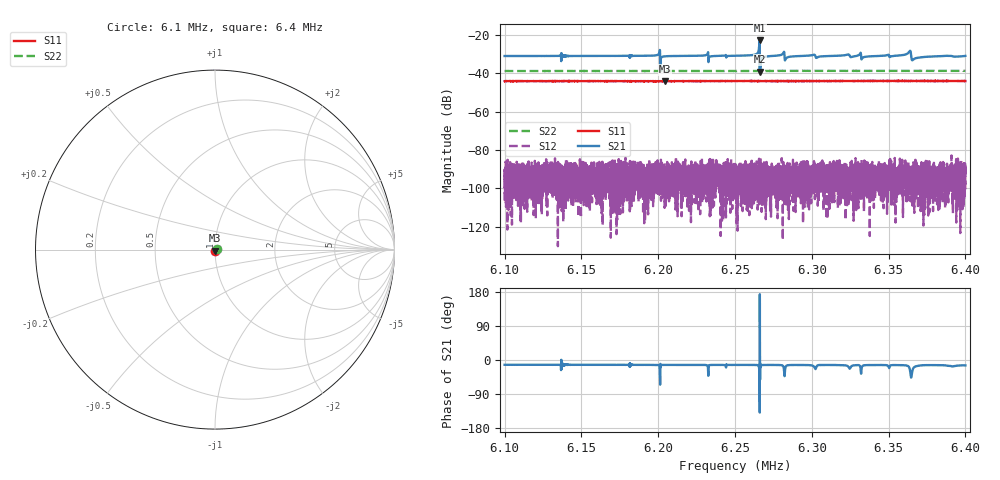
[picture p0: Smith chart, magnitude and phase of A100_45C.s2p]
!CETC41,AV3656A,ZGL00048,1.3.2
!Calibration ON (Full Solt 2-Port(Omit Isolation))
!Measurements: S11 S21 S12 S22
!2025-07-09 21:53
# Hz  S  dB  R 50.000
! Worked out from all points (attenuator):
!   6401 points, 6.1 MHz to 6.4 MHz, reference 50 ohm
!   highest |S21| = -22.83 dB at 6.266 MHz (marker M1); lowest = -39.0 dB at 6.2662 MHz (marker M2)
!   lowest |S11| = -44.1 dB at 6.2045 MHz (marker M3), VSWR 1.01, Z = 50 - j0.622 ohm
!   |S11| at or under -10 dB: start of sweep to end of sweep
!   |S22| runs from -38.8 to -38.7 dB; largest |S21 - S12| = 0.072
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6100000  -44.08 -89.6  -30.94 -12.7  -106.42 39.6  -38.77 10.4
6150016  -44.00 -89.6  -30.92 -12.7  -92.46 26.4  -38.76 10.4
6200031  -44.09 -89.7  -30.19 -13.2  -100.93 -70.1  -38.77 10.6
6202750  -44.06 -89.6  -31.36 -13.1  -90.34 -169.2  -38.79 10.7
6204531  -44.12 -89.7  -31.09 -12.9  -89.28 91.0  -38.78 10.9
6250000  -43.98 -89.8  -30.79 -13.0  -91.62 36.0  -38.78 10.8
6262188  -44.00 -89.9  -30.35 -13.0  -92.74 83.4  -38.77 10.6
6264625  -44.05 -89.8  -29.53 -13.4  -91.32 16.3  -38.76 10.8
6265984  -44.00 -89.5  -22.83 -65.5  -100.47 -73.2  -38.77 10.7
6266219  -44.01 -89.5  -39.04 54.2  -103.95 158.8  -38.76 10.6
6267672  -43.98 -89.5  -31.95 -13.3  -101.01 -100.5  -38.75 10.7
6269453  -44.01 -89.4  -31.33 -13.1  -89.05 15.5  -38.77 10.8
6280703  -44.02 -89.3  -30.09 -14.1  -96.90 165.9  -38.71 10.7
6283797  -44.02 -89.7  -31.79 -14.4  -92.88 -59.2  -38.68 10.8
6300016  -44.00 -89.6  -30.53 -14.4  -97.70 80.5  -38.68 10.7
6303953  -44.01 -89.6  -31.51 -13.9  -93.82 116.3  -38.69 10.6
6330578  -44.01 -89.4  -30.47 -13.7  -97.92 41.6  -38.70 10.5
6333625  -43.97 -89.5  -31.62 -14.3  -87.69 81.8  -38.73 10.6
6350031  -44.00 -89.4  -30.28 -18.1  -89.26 -145.0  -38.72 10.7
6363109  -43.96 -89.6  -29.11 -17.5  -90.34 168.5  -38.72 10.7
6366391  -43.96 -89.5  -32.58 -19.9  -92.83 112.9  -38.70 10.7
6400000  -43.99 -89.8  -30.85 -14.2  -91.48 97.4  -38.69 10.9
